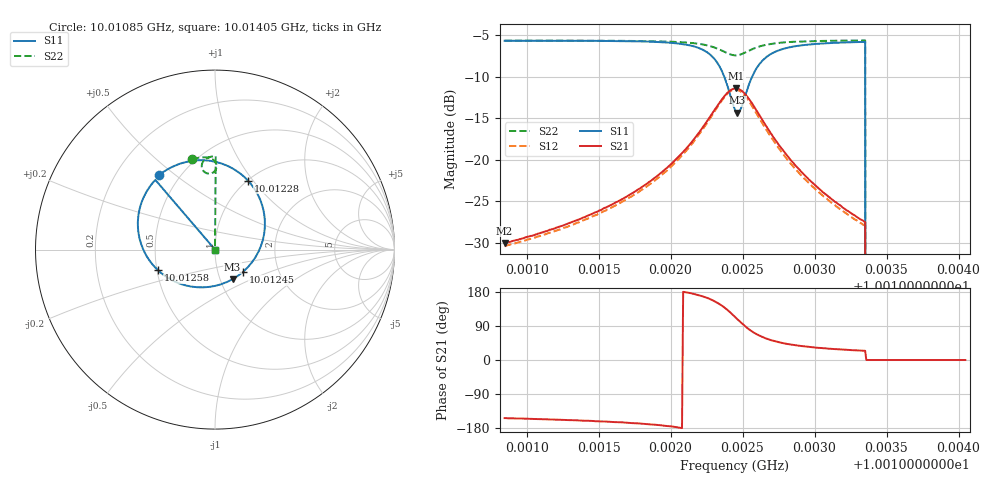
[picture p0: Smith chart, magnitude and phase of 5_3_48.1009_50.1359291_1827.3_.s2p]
#  HZ  S  RI  R  50.00
! Rohde & Schwarz Vector Network Analyzer
! Rohde-Schwarz,ZNB20-2Port,1311601062101988,3.16
! Created: UTC 12/23/2023, 3:35:06 AM
! freq[Hz]  re:S11  im:S11  re:S21  im:S21  re:S12  im:S12  re:S22  im:S22
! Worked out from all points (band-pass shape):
!   401 points, 10.01085 GHz to 10.01405 GHz, reference 50 ohm
!   highest |S21| = -11.43 dB at 10.01246 GHz (marker M1); lowest = -30.0 dB at 10.01085 GHz (marker M2)
!   |S21| within 3 dB of the highest: 10.01229 GHz to 10.01261 GHz (319.8 kHz wide, 0.00319 % of centre)
!   lowest |S11| = -14.3 dB at 10.01246 GHz (marker M3), VSWR 1.47, Z = 57.2 - j19.6 ohm
!   |S11| at or under -10 dB: 10.01237 GHz to 10.01257 GHz (194.7 kHz wide, 0.00194 % of centre); 10.01335 GHz to end of sweep
!   |S22| runs from - to -5.7 dB; largest |S21 - S12| = 0.012
!   S11 on the Smith chart (normalised r, x): 10.01085 GHz: 0.39, +0.44; 10.01228 GHz: 1.01, +0.94; 10.01245 GHz: 1.32, -0.34; 10.01258 GHz: 0.51, -0.13; 10.01405 GHz: 1.00, +0.00
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1.0010847e10  -0.3098 0.417  -0.0282 -0.0142  -0.0263 -0.015  -0.1273 0.5043
1.0011383e10  -0.2513 0.4542  -0.0418 -0.0153  -0.0394 -0.0168  -0.0893 0.5119
1.0011672e10  -0.1998 0.477  -0.0564 -0.0153  -0.0536 -0.0175  -0.0662 0.5142
1.001192e10  -0.1231 0.4953  -0.0806 -0.0116  -0.0769 -0.0154  -0.0426 0.5134
1.0012152e10  0.0279 0.4823  -0.1289 0.0105  -0.1253 0.00306  -0.0132 0.503
1.001228e10  0.184 0.384  -0.1727 0.0631  -0.1727 0.0523  0.0054 0.4808
1.0012328e10  0.2475 0.2877  -0.1847 0.1054  -0.1867 0.094  0.00857 0.4649
1.0012376e10  0.2781 0.1407  -0.1805 0.1612  -0.1847 0.1515  0.00377 0.4449
1.0012416e10  0.2428 -0.0108  -0.1506 0.2135  -0.1565 0.2052  -0.0102 0.4297
1.0012448e10  0.157 -0.1233  -0.1075 0.2458  -0.114 0.2384  -0.0274 0.4234
1.0012456e10  0.1304 -0.1443  -0.0955 0.2508  -0.1007 0.244  -0.0321 0.4231
1.0012464e10  0.0977 -0.1651  -0.0816 0.255  -0.0874 0.2482  -0.0368 0.4234
1.0012488e10  0.000728 -0.2022  -0.0432 0.2587  -0.0476 0.2522  -0.0498 0.4269
1.001252e10  -0.1314 -0.2061  0.00637 0.2472  0.000576 0.2403  -0.0636 0.4372
1.0012584e10  -0.3186 -0.1143  0.0667 0.1955  0.059 0.1897  -0.0739 0.4625
1.0012656e10  -0.4076 0.02  0.0869 0.1384  0.0789 0.1354  -0.0696 0.4845
1.001276e10  -0.4297 0.1574  0.0831 0.0872  0.0764 0.0855  -0.056 0.5021
1.0012984e10  -0.393 0.3011  0.0607 0.0406  0.0559 0.0408  -0.0291 0.5158
1.0013336e10  -0.3346 0.386  0.0392 0.0179  0.0362 0.0188  0.0029 0.5214
1.0013376e10  0 0  0 0  0 0  0 0
1.001352e10  0 0  0 0  0 0  0 0
1.0014048e10  0 0  0 0  0 0  0 0
